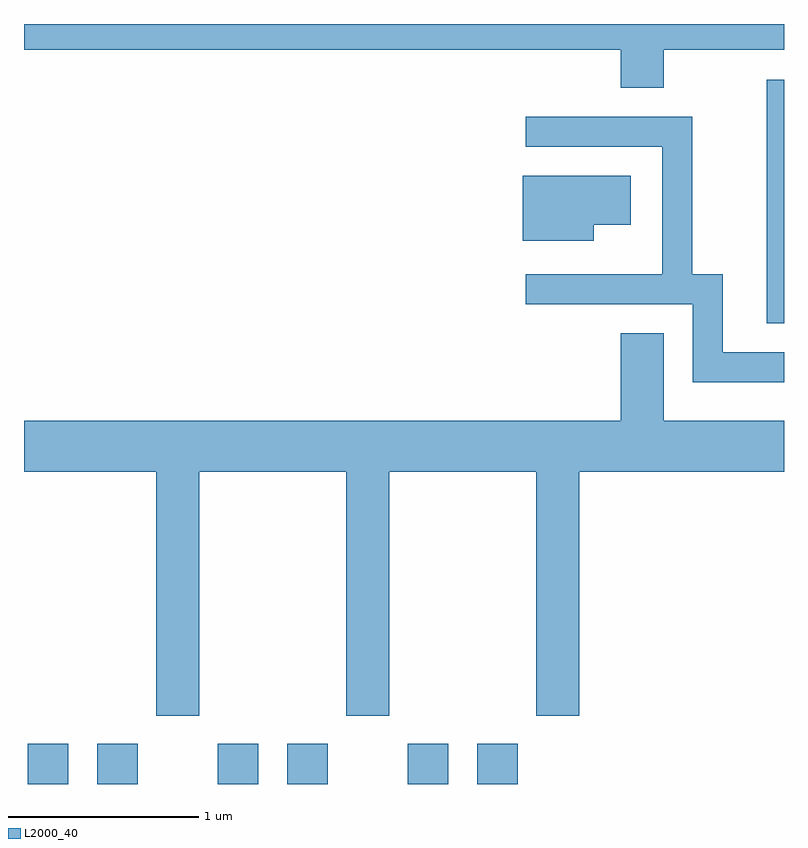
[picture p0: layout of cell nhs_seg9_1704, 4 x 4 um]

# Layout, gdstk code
import gdstk
lib = gdstk.Library(unit=1e-6, precision=1e-09)
def R(c, l, rs):  # rectangles x0, y0, x1, y1
    for r in rs: c.add(gdstk.rectangle(r[:2], r[2:], *l))
def P(c, l, *ps):  # polygons
    for p in ps: c.add(gdstk.Polygon(p, *l))
L2000_40 = (2000, 40)

nhs_seg9_1704 = lib.new_cell('nhs_seg9_1704')
R(nhs_seg9_1704, L2000_40, [(235.631,1952.432,235.844,1952.644), (235.996,1952.432,236.209,1952.644), (236.631,1952.432,236.844,1952.644), (236.996,1952.432,237.209,1952.644), (237.631,1952.432,237.844,1952.644), (237.996,1952.432,238.209,1952.644), (239.521,1954.856,239.611,1956.139)])
P(nhs_seg9_1704, L2000_40, [(238.979,1956.296),(239.611,1956.296),(239.611,1956.432),(235.611,1956.432),(235.611,1956.296),(238.751,1956.296),(238.751,1956.096),(238.979,1956.096)],
  [(239.611,1954.704),(239.289,1954.704),(239.289,1955.114),(239.129,1955.114),(239.129,1955.944),(238.253,1955.944),(238.253,1955.786),(238.971,1955.786),(238.971,1955.114),(238.253,1955.114),(238.253,1954.956),(239.131,1954.956),(239.131,1954.546),(239.611,1954.546)],
  [(238.609,1955.376),(238.804,1955.376),(238.804,1955.634),(238.236,1955.634),(238.236,1955.291),(238.609,1955.291)],
  [(236.534,1954.076),(237.306,1954.076),(237.306,1952.791),(237.534,1952.791),(237.534,1954.076),(238.306,1954.076),(238.306,1952.791),(238.534,1952.791),(238.534,1954.076),(239.611,1954.076),(239.611,1954.344),(238.979,1954.344),(238.979,1954.804),(238.751,1954.804),(238.751,1954.344),(235.611,1954.344),(235.611,1954.076),(236.306,1954.076),(236.306,1952.791),(236.534,1952.791)])

lib.write_gds('nhs_seg9_1704.gds')
